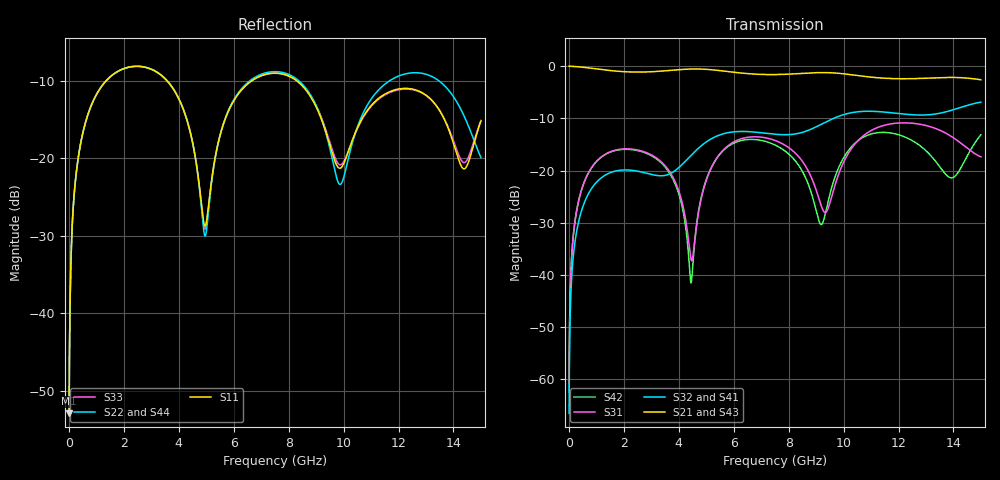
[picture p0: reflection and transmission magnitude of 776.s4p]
! Created with skrf 1.8.0 (http://scikit-rf.org).
# GHz S RI R 50.0
!freq ReS11 ImS11 ReS12 ImS12 ReS13 ImS13
! ReS14 ImS14
! ReS21 ImS21 ReS22 ImS22 ReS23 ImS23
! ReS24 ImS24
! ReS31 ImS31 ReS32 ImS32 ReS33 ImS33
! ReS34 ImS34
! ReS41 ImS41 ReS42 ImS42 ReS43 ImS43
! ReS44 ImS44
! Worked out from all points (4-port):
!   2499 points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, 5 MHz to 15 GHz, reference 50 ohm
!   strongest paths, dB at 5 MHz, 3.476 GHz, 7.19 GHz, 11.1 GHz, 15 GHz:
!     S21: 0.0, -0.9, -1.6, -2.2, -2.6
!     S43: 0.0, -0.9, -1.6, -2.2, -2.6
!     S32: -66.5, -21.0, -12.9, -8.7, -6.9
!     S41: -66.5, -21.0, -12.9, -8.7, -6.9
!     S31: -62.5, -18.9, -13.8, -12.1, -17.4
!     S42: -62.5, -19.2, -14.5, -12.9, -13.2
!   lowest |S11| = -52.9 dB at 5 MHz (marker M1), VSWR 1.00, Z = 50.2 + j0.138 ohm
!   |S11| at or under -10 dB: start of sweep to 1.361 GHz; 3.566 GHz to 6.665 GHz (3.1 GHz wide, 60.6 % of centre); 8.28 GHz to end of sweep
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0.005  0.00181 0.00137  0.9982 -0.00352  9.25e-05 0.000748  -8.96e-05 -0.000464
       0.9982 -0.00352  0.00181 0.00137  -8.96e-05 -0.000464  9.25e-05 0.000748
       9.25e-05 0.000748  -8.96e-05 -0.000464  0.00181 0.00137  0.9982 -0.00352
       -8.96e-05 -0.000464  9.25e-05 0.000748  0.9982 -0.00352  0.00181 0.00137
0.3626511  0.0358 0.1015  0.9505 -0.2506  0.018 0.0496  -0.0147 -0.03
           0.9505 -0.2506  0.0358 0.1015  -0.0147 -0.03  0.0176 0.0497
           0.018 0.0496  -0.0147 -0.03  0.0358 0.1015  0.9505 -0.2506
           -0.0147 -0.03  0.0176 0.0497  0.9505 -0.2506  0.0358 0.1015
1.825761  0.3444 0.1242  0.3484 -0.8195  0.1569 0.0277  -0.0963 0.0277
          0.3484 -0.8195  0.3455 0.1229  -0.0964 0.0279  0.1541 0.0342
          0.1569 0.0277  -0.0964 0.0279  0.3443 0.1242  0.3484 -0.8195
          -0.0963 0.0277  0.1541 0.0342  0.3484 -0.8195  0.3456 0.1229
4.445  0.0733 -0.1194  -0.8587 -0.3753  -0.0128 -0.00587  -0.0524 0.1296
       -0.8587 -0.3753  0.0691 -0.1223  -0.0515 0.13  -0.00805 -0.0023
       -0.0128 -0.00587  -0.0515 0.13  0.0722 -0.1194  -0.8589 -0.3751
       -0.0524 0.1296  -0.00805 -0.0023  -0.8589 -0.3751  0.0698 -0.1215
7.528137  0.3524 -0.00899  -0.0778 0.826  0.1714 -0.0888  0.2147 -0.0501
          -0.0778 0.826  0.3608 -0.015  0.2157 -0.0536  0.1661 -0.0526
          0.1714 -0.0888  0.2157 -0.0536  0.3535 -0.00452  -0.0777 0.8251
          0.2147 -0.0501  0.1661 -0.0526  -0.0777 0.8251  0.364 -0.0191
10.23551  0.1084 0.0482  0.8283 -0.0386  0.065 0.1406  -0.0366 -0.3538
          0.8283 -0.0386  0.0916 0.0612  -0.0428 -0.3529  0.0353 0.159
          0.065 0.1406  -0.0428 -0.3529  0.1105 0.0441  0.8285 -0.0375
          -0.0366 -0.3538  0.0353 0.159  0.8285 -0.0375  0.089 0.059
15  0.1216 0.1233  -0.7257 -0.144  -0.1237 0.0547  -0.0835 0.4433
    -0.7257 -0.144  0.081 -0.0606  -0.072 0.4457  0.1539 0.157
    -0.1237 0.0547  -0.072 0.4457  0.1284 0.1189  -0.7253 -0.146
    -0.0835 0.4433  0.1539 0.157  -0.7253 -0.146  0.0801 -0.0639
